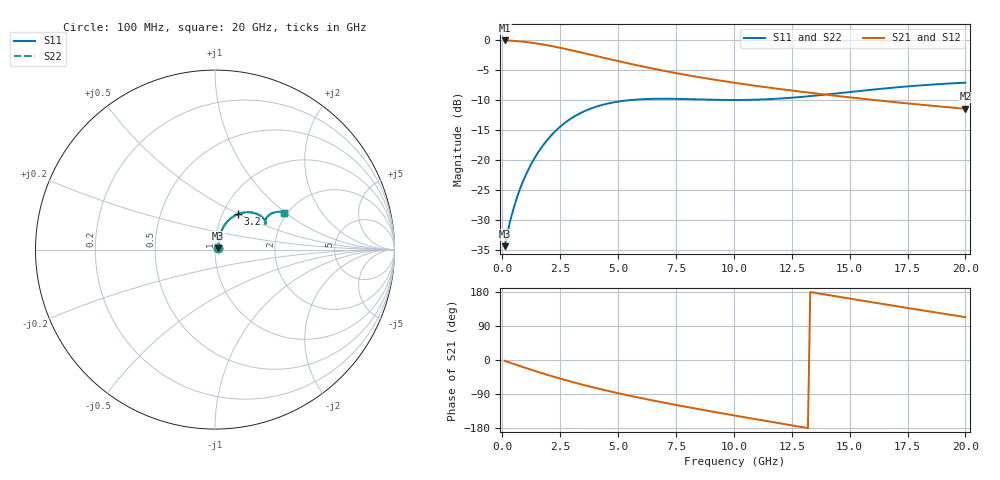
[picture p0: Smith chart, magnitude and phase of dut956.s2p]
! Touchstone file exported from HFSS 2024.1.0
!  File:  C:/UserFiles/LocalFiles/RDL_TSV_Batchsim/temp_RDL_TSV_956_1779966750.aedt
!  Generated:  07:28:13 PM May 28, 2026
!  Design:  RDL_TSV
!  Project:  temp_RDL_TSV_956_1779966750
!  Setup:  Setup1
!  Solution:  Sweep
! Variables:
!  dtsv = 7.71um
!  hbump = 3um
!  htsv = 88.51um
!  ldown = 361.51um
!  lrdl = 601.53um
!  p = 40
!  p1 = 57.09um
!  rhole = 10um
!  subl = 3490.65um
!  t = 450um
!  tdown = 4.23um
!  trdl = 4.63um
!  viad = 10um
!  wdown = 26.35um
!  wrdl = 14.14um
!  xbump = 18um
# GHz S MA R 50.000000
! Terminal data exported
! Port[1] = TM1_1_T1
! Port[2] = TM1_4_T1
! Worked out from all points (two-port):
!   200 points, 100 MHz to 20 GHz, reference 50 ohm
!   highest |S21| = -0.16 dB at 100 MHz (marker M1); lowest = -11.5 dB at 20 GHz (marker M2)
!   |S21| within 3 dB of the highest: start of sweep to 4.52 GHz
!   lowest |S11| = -34.4 dB at 100 MHz (marker M3), VSWR 1.04, Z = 51.8 + j0.77 ohm
!   |S11| at or under -10 dB: start of sweep to 5.733 GHz; 8.943 GHz to 10.97 GHz (2.024 GHz wide, 20.3 % of centre)
!   |S22| runs from -34.4 to -7.2 dB; largest |S21 - S12| = 7.8e-14
!   S11 on the Smith chart (normalised r, x): 100 MHz: 1.04, +0.02; 3.2 GHz: 1.18, +0.49; 20 GHz: 1.94, +0.98
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0.1  0.01916 22.8  0.9821 -2.1  0.9821 -2.1  0.01916 22.8
! Gamma 0 0 0 0
! Port Impedance 50 0 50 0
0.4  0.03425 54.6  0.9767 -8.5  0.9767 -8.5  0.03425 54.6
0.6  0.04645 62.7  0.9711 -12.6  0.9711 -12.6  0.04645 62.7
0.9  0.06662 68.6  0.9594 -18.8  0.9594 -18.8  0.06662 68.6
1.3  0.09608 70.9  0.9386 -26.8  0.9386 -26.8  0.09609 70.9
1.7  0.1272 70.1  0.913 -34.5  0.913 -34.5  0.1273 70.1
2.2  0.1662 66.7  0.8764 -43.8  0.8764 -43.8  0.1663 66.7
2.7  0.2027 62.1  0.837 -52.6  0.837 -52.6  0.2028 62.1
3.2  0.2347 57.1  0.7967 -60.9  0.7967 -60.9  0.2348 57.1
3.5  0.2512 54.1  0.7727 -65.7  0.7727 -65.7  0.2514 54.1
4.2  0.282 47.5  0.7187 -76.3  0.7187 -76.3  0.2822 47.5
5.1  0.3068 40.3  0.6554 -88.9  0.6554 -88.9  0.3071 40.3
5.9  0.3179 35.2  0.6061 -99.3  0.6061 -99.3  0.3182 35.2
6.8  0.3218 31.0  0.5582 -110.4  0.5582 -110.4  0.3222 31.0
8.4  0.3182 27.3  0.4899 -128.8  0.4899 -128.8  0.3185 27.3
10.1  0.3143 27.5  0.4348 -147.3  0.4348 -147.3  0.3145 27.4
11.7  0.3206 29.6  0.3941 -164.2  0.3941 -164.2  0.3208 29.5
13.4  0.34 31.8  0.3587 178.3  0.3587 178.3  0.3401 31.7
15.1  0.3676 32.6  0.329 161.1  0.329 161.1  0.3677 32.5
16.7  0.395 31.8  0.3051 145.1  0.3051 145.1  0.3951 31.8
18.3  0.4189 30.2  0.2845 129.5  0.2845 129.5  0.419 30.1
20  0.4377 27.9  0.2659 113.2  0.2659 113.2  0.4379 27.8
